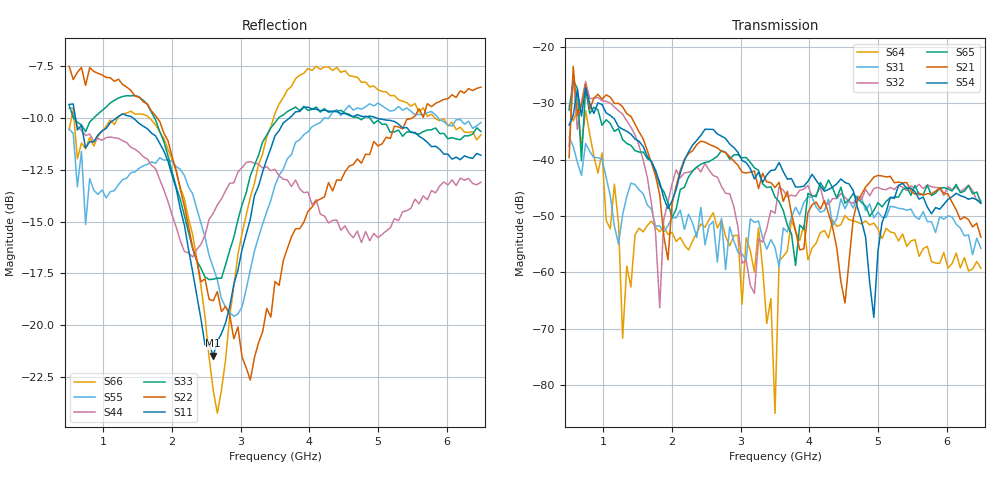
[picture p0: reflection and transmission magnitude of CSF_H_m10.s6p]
!Keysight Technologies,M9804A,MY58100912,A.14.10.03
!Date: Thursday, April 27, 2023 10:28:33
!Correction: S11(C  6-Port  )
!S12(C  6-Port  )
!S13(C  6-Port  )
!S14(C  6-Port  )
!S15(C  6-Port  )
!S16(C  6-Port  )
!S21(C  6-Port  )
!S22(C  6-Port  )
!S23(C  6-Port  )
!S24(C  6-Port  )
!S25(C  6-Port  )
!S26(C  6-Port  )
!S31(C  6-Port  )
!S32(C  6-Port  )
!S33(C  6-Port  )
!S34(C  6-Port  )
!S35(C  6-Port  )
!S36(C  6-Port  )
!S41(C  6-Port  )
!S42(C  6-Port  )
!S43(C  6-Port  )
!S44(C  6-Port  )
!S45(C  6-Port  )
!S46(C  6-Port  )
!S51(C  6-Port  )
!S52(C  6-Port  )
!S53(C  6-Port  )
!S54(C  6-Port  )
!S55(C  6-Port  )
!S56(C  6-Port  )
!S61(C  6-Port  )
!S62(C  6-Port  )
!S63(C  6-Port  )
!S64(C  6-Port  )
!S65(C  6-Port  )
!S66(C  6-Port  )
!S6P File: Measurement: :
# Hz S  RI  R 50
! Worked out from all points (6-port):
!   101 points, 500 MHz to 6.5 GHz, reference 50 ohm
!   strongest paths, dB at 500 MHz, 2 GHz, 3.5 GHz, 5 GHz, 6.5 GHz:
!     S54: -33.9, -47.3, -41.8, -56.3, -47.8
!     S21: -39.6, -47.9, -45.0, -42.8, -53.7
!     S65: -31.2, -50.3, -46.6, -47.6, -47.6
!     S32: -37.6, -44.4, -49.5, -44.9, -47.2
!     S31: -36.0, -50.3, -55.5, -49.3, -55.7
!     S64: -30.4, -52.9, -85.0, -52.3, -59.3
!   lowest |S11| = -21.5 dB at 2.6 GHz (marker M1), VSWR 1.18, Z = 42.5 + j2.16 ohm
!   |S11| at or under -10 dB: 592.3 MHz to 1.192 GHz (600.1 MHz wide, 67.2 % of centre); 1.429 GHz to 3.712 GHz (2.283 GHz wide, 88.8 % of centre); 4.976 GHz to end of sweep
